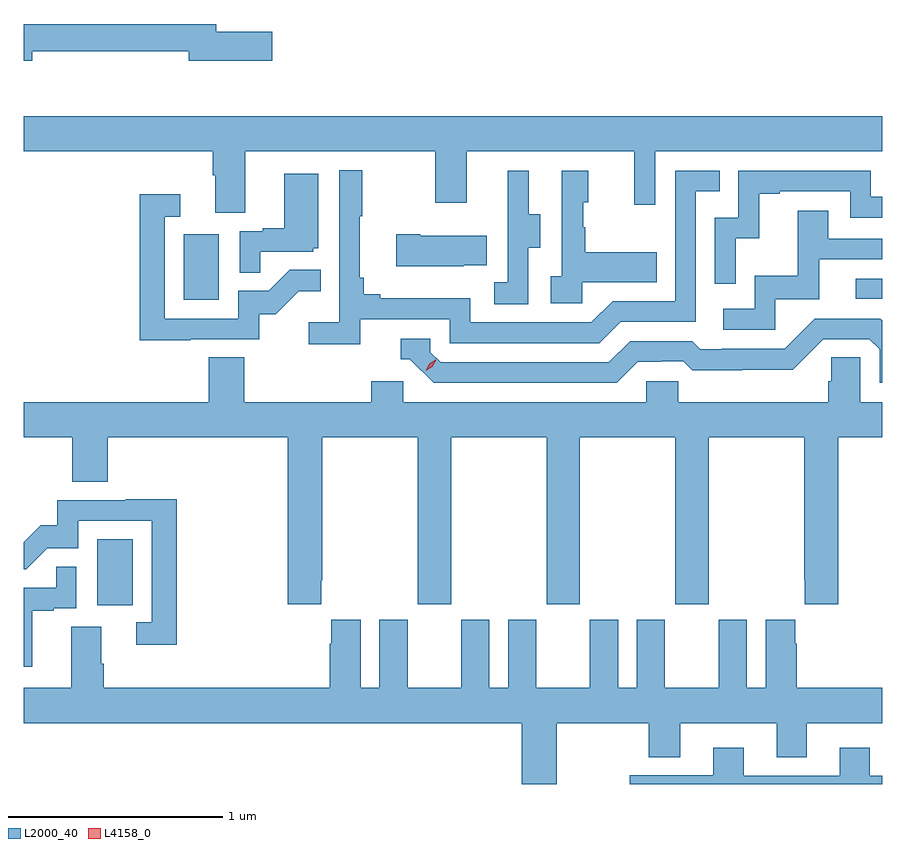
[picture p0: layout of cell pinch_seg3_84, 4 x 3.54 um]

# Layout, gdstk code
import gdstk
lib = gdstk.Library(unit=1e-6, precision=1e-09)
def R(c, l, rs):  # rectangles x0, y0, x1, y1
    for r in rs: c.add(gdstk.rectangle(r[:2], r[2:], *l))
def P(c, l, *ps):  # polygons
    for p in ps: c.add(gdstk.Polygon(p, *l))
L2000_40 = (2000, 40)
L4158_0 = (4158, 0)

pinch_seg3_84 = lib.new_cell('pinch_seg3_84')
R(pinch_seg3_84, L2000_40, [(1033.826,721.446,1033.99,721.753), (1034.228,722.868,1034.392,723.175), (1037.361,722.874,1037.483,722.967)])
P(pinch_seg3_84, L2000_40, [(1033.522,724.026),(1034.252,724.026),(1034.252,723.983),(1034.641,723.983),(1034.641,724.118),(1034.38,724.118),(1034.38,724.154),(1033.483,724.154),(1033.483,723.983),(1033.522,723.983)],
  [(1034.515,723.56),(1035.4,723.56),(1035.4,723.321),(1035.547,723.321),(1035.547,723.56),(1036.328,723.56),(1036.328,723.312),(1036.425,723.312),(1036.425,723.56),(1037.483,723.56),(1037.483,723.724),(1033.483,723.724),(1033.483,723.56),(1034.363,723.56),(1034.363,723.448),(1034.375,723.448),(1034.375,723.274),(1034.515,723.274)],
  [(1035.05,722.778),(1035.468,722.778),(1035.468,722.667),(1036.165,722.667),(1036.264,722.766),(1036.614,722.766),(1036.614,723.375),(1036.727,723.375),(1036.727,723.471),(1036.518,723.471),(1036.518,722.862),(1036.227,722.862),(1036.128,722.763),(1035.564,722.763),(1035.564,722.875),(1035.145,722.875),(1035.145,722.894),(1035.068,722.894),(1035.068,722.971),(1035.049,722.971),(1035.049,723.259),(1035.061,723.259),(1035.061,723.472),(1034.952,723.472),(1034.952,722.764),(1034.811,722.764),(1034.811,722.662),(1035.05,722.662)],
  [(1036.8,723.155),(1036.91,723.155),(1036.91,723.363),(1037.005,723.363),(1037.005,723.375),(1037.334,723.375),(1037.334,723.252),(1037.483,723.252),(1037.483,723.348),(1037.43,723.348),(1037.43,723.471),(1036.812,723.471),(1036.812,723.252),(1036.704,723.252),(1036.704,722.943),(1036.8,722.943)],
  [(1035.834,723.112),(1035.889,723.112),(1035.889,723.267),(1035.835,723.267),(1035.835,723.469),(1035.737,723.469),(1035.737,723.255),(1035.738,723.255),(1035.738,722.951),(1035.675,722.951),(1035.675,722.848),(1035.834,722.848)],
  [(1036.086,722.951),(1036.433,722.951),(1036.433,723.091),(1036.099,723.091),(1036.099,723.206),(1036.089,723.206),(1036.089,723.324),(1036.114,723.324),(1036.114,723.469),(1035.99,723.469),(1035.99,722.978),(1035.939,722.978),(1035.939,722.853),(1036.086,722.853)],
  [(1034.585,723.093),(1034.832,723.093),(1034.832,723.108),(1034.854,723.108),(1034.854,723.457),(1034.696,723.457),(1034.696,723.202),(1034.597,723.202),(1034.597,723.189),(1034.49,723.189),(1034.49,722.995),(1034.585,722.995)],
  [(1034.261,722.685),(1034.58,722.685),(1034.58,722.802),(1034.656,722.802),(1034.763,722.909),(1034.867,722.909),(1034.867,723.008),(1034.723,723.008),(1034.625,722.91),(1034.481,722.91),(1034.481,722.781),(1034.139,722.781),(1034.139,723.255),(1034.212,723.255),(1034.212,723.361),(1034.023,723.361),(1034.023,722.68),(1034.261,722.68)],
  [(1036.986,722.871),(1037.191,722.871),(1037.191,723.057),(1037.483,723.057),(1037.483,723.153),(1037.233,723.153),(1037.233,723.283),(1037.089,723.283),(1037.089,722.98),(1036.89,722.98),(1036.89,722.826),(1036.743,722.826),(1036.743,722.73),(1036.986,722.73)],
  [(1035.533,723.029),(1035.641,723.029),(1035.641,723.166),(1035.331,723.166),(1035.331,723.174),(1035.219,723.174),(1035.219,723.026),(1035.533,723.026)],
  [(1036.345,722.58),(1036.452,722.58),(1036.452,722.583),(1036.555,722.583),(1036.597,722.541),(1036.83,722.541),(1036.83,722.543),(1037.066,722.543),(1037.208,722.685),(1037.424,722.685),(1037.472,722.637),(1037.472,722.481),(1037.483,722.481),(1037.483,722.773),(1037.475,722.781),(1037.169,722.781),(1037.028,722.64),(1036.735,722.64),(1036.735,722.637),(1036.636,722.637),(1036.597,722.676),(1036.308,722.676),(1036.209,722.577),(1035.426,722.577),(1035.378,722.625),(1035.378,722.688),(1035.239,722.688),(1035.239,722.592),(1035.282,722.592),(1035.393,722.481),(1036.246,722.481)],
  [(1034.869,721.561),(1034.874,721.561),(1034.874,722.228),(1035.319,722.228),(1035.319,721.449),(1035.474,721.449),(1035.474,722.228),(1035.919,722.228),(1035.919,721.449),(1036.074,721.449),(1036.074,722.228),(1036.519,722.228),(1036.519,721.449),(1036.674,721.449),(1036.674,722.228),(1037.119,722.228),(1037.119,721.561),(1037.123,721.561),(1037.123,721.449),(1037.279,721.449),(1037.279,722.228),(1037.483,722.228),(1037.483,722.392),(1037.382,722.392),(1037.382,722.6),(1037.245,722.6),(1037.245,722.49),(1037.231,722.49),(1037.231,722.392),(1036.533,722.392),(1036.533,722.49),(1036.383,722.49),(1036.383,722.392),(1035.252,722.392),(1035.252,722.49),(1035.101,722.49),(1035.101,722.392),(1034.51,722.392),(1034.51,722.6),(1034.345,722.6),(1034.345,722.392),(1033.483,722.392),(1033.483,722.228),(1033.709,722.228),(1033.709,722.02),(1033.874,722.02),(1033.874,722.228),(1034.714,722.228),(1034.714,721.449),(1034.869,721.449)],
  [(1034.195,721.94),(1033.957,721.94),(1033.957,721.935),(1033.639,721.935),(1033.639,721.818),(1033.562,721.818),(1033.483,721.739),(1033.483,721.612),(1033.495,721.612),(1033.593,721.71),(1033.737,721.71),(1033.737,721.839),(1034.079,721.839),(1034.079,721.365),(1034.007,721.365),(1034.007,721.26),(1034.195,721.26)],
  [(1033.522,721.419),(1033.622,721.419),(1033.622,721.431),(1033.728,721.431),(1033.728,721.625),(1033.633,721.625),(1033.633,721.527),(1033.483,721.527),(1033.483,721.158),(1033.522,721.158)],
  [(1035.74,721.06),(1035.652,721.06),(1035.652,721.378),(1035.521,721.378),(1035.521,721.06),(1035.271,721.06),(1035.271,721.378),(1035.14,721.378),(1035.14,721.06),(1035.052,721.06),(1035.052,721.378),(1034.915,721.378),(1034.915,721.265),(1034.909,721.265),(1034.909,721.06),(1033.856,721.06),(1033.856,721.172),(1033.843,721.172),(1033.843,721.346),(1033.703,721.346),(1033.703,721.06),(1033.483,721.06),(1033.483,720.896),(1035.803,720.896),(1035.803,720.612),(1035.967,720.612),(1035.967,720.896),(1036.396,720.896),(1036.396,720.737),(1036.543,720.737),(1036.543,720.896),(1036.991,720.896),(1036.991,720.736),(1037.131,720.736),(1037.131,720.896),(1037.483,720.896),(1037.483,721.06),(1037.084,721.06),(1037.084,721.265),(1037.077,721.265),(1037.077,721.378),(1036.94,721.378),(1036.94,721.06),(1036.852,721.06),(1036.852,721.378),(1036.721,721.378),(1036.721,721.06),(1036.471,721.06),(1036.471,721.378),(1036.34,721.378),(1036.34,721.06),(1036.252,721.06),(1036.252,721.378),(1036.121,721.378),(1036.121,721.06),(1035.871,721.06),(1035.871,721.378),(1035.74,721.378)],
  [(1037.483,720.651),(1037.425,720.651),(1037.425,720.781),(1037.285,720.781),(1037.285,720.651),(1036.837,720.651),(1036.837,720.781),(1036.697,720.781),(1036.697,720.652),(1036.307,720.652),(1036.307,720.612),(1037.483,720.612)])
P(pinch_seg3_84, L4158_0, [(1035.356,722.538),(1035.356,722.538),(1035.372,722.57),(1035.403,722.589),(1035.404,722.589),(1035.404,722.589),(1035.387,722.557),(1035.356,722.538)])

lib.write_gds('pinch_seg3_84.gds')
